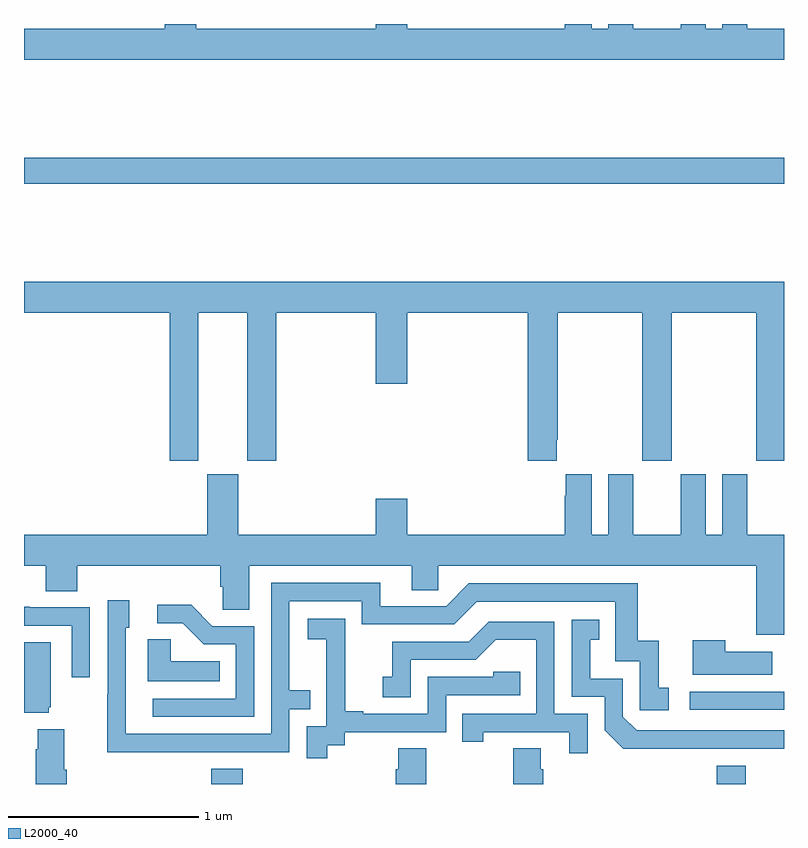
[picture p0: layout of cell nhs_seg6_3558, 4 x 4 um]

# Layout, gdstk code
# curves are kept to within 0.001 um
import gdstk
lib = gdstk.Library(unit=1e-6, precision=1e-09)
def R(c, l, rs):  # rectangles x0, y0, x1, y1
    for r in rs: c.add(gdstk.rectangle(r[:2], r[2:], *l))
def P(c, l, *ps):  # polygons
    for p in ps: c.add(gdstk.Polygon(p, *l))
L2000_40 = (2000, 40)

nhs_seg6_3558 = lib.new_cell('nhs_seg6_3558')
R(nhs_seg6_3558, L2000_40, [(319.985,967.5,320.15,967.579), (322.646,967.5,322.798,967.597), (322.503,967.89,323,967.986), (319,970.66,323,970.796)])
P(nhs_seg6_3558, L2000_40, [(323,971.476),(322.807,971.476),(322.807,971.5),(322.676,971.5),(322.676,971.476),(322.588,971.476),(322.588,971.5),(322.457,971.5),(322.457,971.476),(322.207,971.476),(322.207,971.5),(322.076,971.5),(322.076,971.476),(321.988,971.476),(321.988,971.5),(321.845,971.5),(321.845,971.476),(321.016,971.476),(321.016,971.5),(320.852,971.5),(320.852,971.476),(319.906,971.476),(319.906,971.5),(319.742,971.5),(319.742,971.476),(319,971.476),(319,971.312),(323,971.312)],
  [(319.918,969.98),(320.174,969.98),(320.174,969.201),(320.327,969.201),(320.327,969.98),(320.852,969.98),(320.852,969.606),(321.016,969.606),(321.016,969.98),(321.65,969.98),(321.65,969.201),(321.805,969.201),(321.805,969.313),(321.81,969.313),(321.81,969.98),(322.255,969.98),(322.255,969.201),(322.41,969.201),(322.41,969.98),(322.855,969.98),(322.855,969.201),(323,969.201),(323,970.144),(319,970.144),(319,969.98),(319.766,969.98),(319.766,969.201),(319.918,969.201)],
  [(323,968.812),(322.807,968.812),(322.807,969.13),(322.676,969.13),(322.676,968.812),(322.588,968.812),(322.588,969.13),(322.457,969.13),(322.457,968.812),(322.207,968.812),(322.207,969.13),(322.076,969.13),(322.076,968.812),(321.988,968.812),(321.988,969.13),(321.851,969.13),(321.851,969.017),(321.845,969.017),(321.845,968.812),(321.016,968.812),(321.016,969.001),(320.852,969.001),(320.852,968.812),(320.128,968.812),(320.128,969.129),(319.964,969.129),(319.964,968.812),(319,968.812),(319,968.648),(319.115,968.648),(319.115,968.515),(319.28,968.515),(319.28,968.648),(320.033,968.648),(320.033,968.539),(320.046,968.539),(320.046,968.416),(320.185,968.416),(320.185,968.648),(321.041,968.648),(321.041,968.521),(321.18,968.521),(321.18,968.648),(322.853,968.648),(322.853,968.286),(323,968.286)],
  [(319.901,967.668),(320.397,967.668),(320.397,967.893),(320.507,967.893),(320.507,967.994),(320.397,967.994),(320.397,968.463),(320.778,968.463),(320.778,968.34),(321.264,968.34),(321.384,968.46),(322.113,968.46),(322.113,968.145),(322.242,968.145),(322.242,967.887),(322.393,967.887),(322.393,968.007),(322.34,968.007),(322.34,968.254),(322.229,968.254),(322.229,968.556),(321.342,968.556),(321.222,968.436),(320.875,968.436),(320.875,968.559),(320.301,968.559),(320.301,967.764),(319.536,967.764),(319.536,968.322),(319.555,968.322),(319.555,968.467),(319.44,968.467),(319.44,967.973),(319.438,967.973),(319.438,967.667)],
  [(320.211,968.331),(319.992,968.331),(319.879,968.444),(319.701,968.444),(319.701,968.346),(319.835,968.346),(319.946,968.235),(320.115,968.235),(320.115,967.95),(319.677,967.95),(319.677,967.854),(320.211,967.854)],
  [(319.347,968.43),(319.031,968.43),(319.031,968.432),(319,968.432),(319,968.334),(319.251,968.334),(319.251,968.061),(319.347,968.061)],
  [(320.596,967.705),(320.688,967.705),(320.688,967.773),(321.222,967.773),(321.222,967.968),(321.611,967.968),(321.611,968.091),(321.471,968.091),(321.471,968.064),(321.126,968.064),(321.126,967.869),(320.785,967.869),(320.785,967.882),(320.69,967.882),(320.69,968.165),(320.691,968.165),(320.691,968.371),(320.493,968.371),(320.493,968.261),(320.591,968.261),(320.591,968.033),(320.592,968.033),(320.592,967.803),(320.487,967.803),(320.487,967.635),(320.596,967.635)],
  [(322.562,967.686),(323,967.686),(323,967.782),(322.224,967.782),(322.152,967.854),(322.152,968.055),(321.979,968.055),(321.979,968.259),(322.028,968.259),(322.028,968.365),(321.882,968.365),(321.882,967.959),(322.056,967.959),(322.056,967.782),(322.154,967.685)],
  [(321.966,967.869),(321.792,967.869),(321.792,968.355),(321.446,968.355),(321.341,968.25),(320.938,968.25),(320.938,968.065),(320.889,968.065),(320.889,967.956),(321.036,967.956),(321.036,968.154),(321.378,968.154),(321.482,968.258),(321.696,968.258),(321.696,967.869),(321.307,967.869),(321.307,967.722),(321.418,967.722),(321.418,967.773),(321.869,967.773),(321.869,967.662),(321.966,967.662)],
  [(320.03,968.146),(319.773,968.146),(319.773,968.261),(319.652,968.261),(319.652,968.042),(320.03,968.042)],
  [(322.939,968.197),(322.691,968.197),(322.691,968.257),(322.52,968.257),(322.52,968.075),(322.939,968.075)],
  [(319.13,967.905),(319.141,967.905),(319.141,968.245),(319,968.245),(319,967.874),(319.13,967.874)],
  [(319.226,967.576),(319.213,967.576),(319.213,967.789),(319.073,967.789),(319.073,967.682),(319.061,967.682),(319.061,967.5),(319.226,967.5)],
  [(321.734,967.578),(321.721,967.578),(321.721,967.688),(321.574,967.688),(321.574,967.5),(321.734,967.5)],
  [(321.117,967.688),(320.969,967.688),(320.969,967.578),(320.957,967.578),(320.957,967.5),(321.117,967.5)])

lib.write_gds('nhs_seg6_3558.gds')
